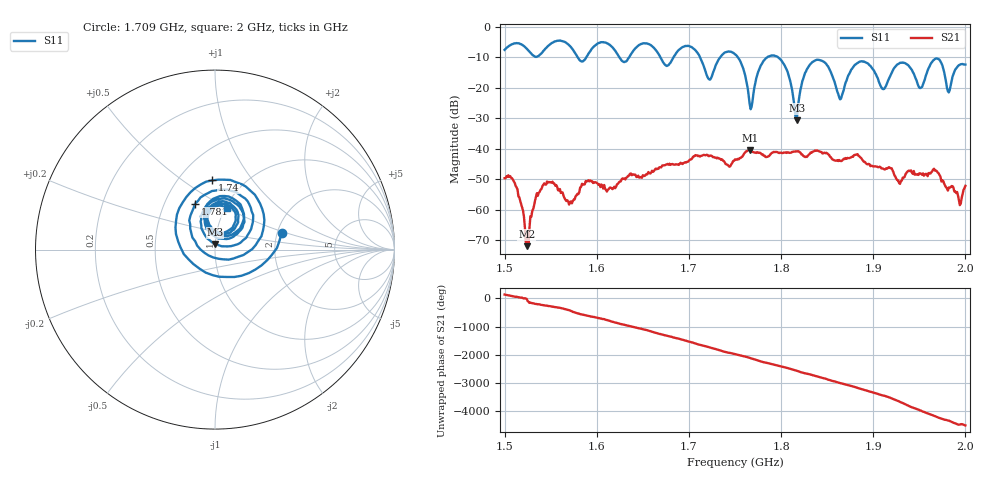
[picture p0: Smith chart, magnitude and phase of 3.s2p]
! NanoVNA-App by SYSJOINT et al v1.1.209 (+OD18)
! Date: 2026-01-21 14:26:38
! Start: 1,5GHz Stop: 2GHz Points: 501
! S-Parameter data: F S11 S21 S12 S22
# Hz S RI R 50
!  Frequency  S11_Real  S11_Imag  S21_Real  S21_Imag  S12_Real  S12_Imag  S22_Real  S22_Imag
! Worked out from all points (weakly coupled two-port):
!   501 points, 1.5 GHz to 2 GHz, reference 50 ohm
!   highest |S21| = -40.34 dB at 1.766 GHz (marker M1); lowest = -71.9 dB at 1.524 GHz (marker M2)
!   lowest |S11| = -30.7 dB at 1.817 GHz (marker M3), VSWR 1.06, Z = 49.9 + j2.92 ohm
!   |S11| at or under -10 dB: 1.712 GHz to 1.734 GHz (21.66 MHz wide, 1.26 % of centre); 1.753 GHz to 1.785 GHz (31.54 MHz wide, 1.78 % of centre); 1.797 GHz to end of sweep (the widest 3 of 6)
!   S12 and S22 are empty: the file has one direction only
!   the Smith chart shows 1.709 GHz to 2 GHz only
!   S11 on the Smith chart (normalised r, x): 1.709 GHz: 2.11, +0.45; 1.74 GHz: 0.72, +0.65; 1.781 GHz: 0.71, +0.39; 2 GHz: 1.01, +0.50
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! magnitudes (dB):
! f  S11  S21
! 1.5 GHz  -7.5  -49.6
! 1.512 GHz  -5.4  -52.1
! 1.524 GHz  -7.1  -71.9
! 1.544 GHz  -7.2  -51.6
! 1.584 GHz  -11.3  -51.5
! 1.667 GHz  -8.8  -46.5
! 1.709 GHz  -8.4  -42.1
! 1.722 GHz  -17.2  -42.4
! 1.74 GHz  -8.3  -45.0
! 1.75 GHz  -8.9  -43.5
! 1.766 GHz  -25.4  -40.3
! 1.781 GHz  -11.1  -42.2
! 1.802 GHz  -11.8  -41.3
! 1.817 GHz  -30.7  -40.9
! 1.834 GHz  -11.5  -40.9
! 1.864 GHz  -23.7  -43.9
! 1.885 GHz  -11.4  -42.5
! 1.917 GHz  -17.0  -46.0
! 1.952 GHz  -19.9  -48.2
! 1.969 GHz  -10.3  -47.3
! 1.982 GHz  -21.5  -52.7
! 2 GHz  -12.3  -52.1
